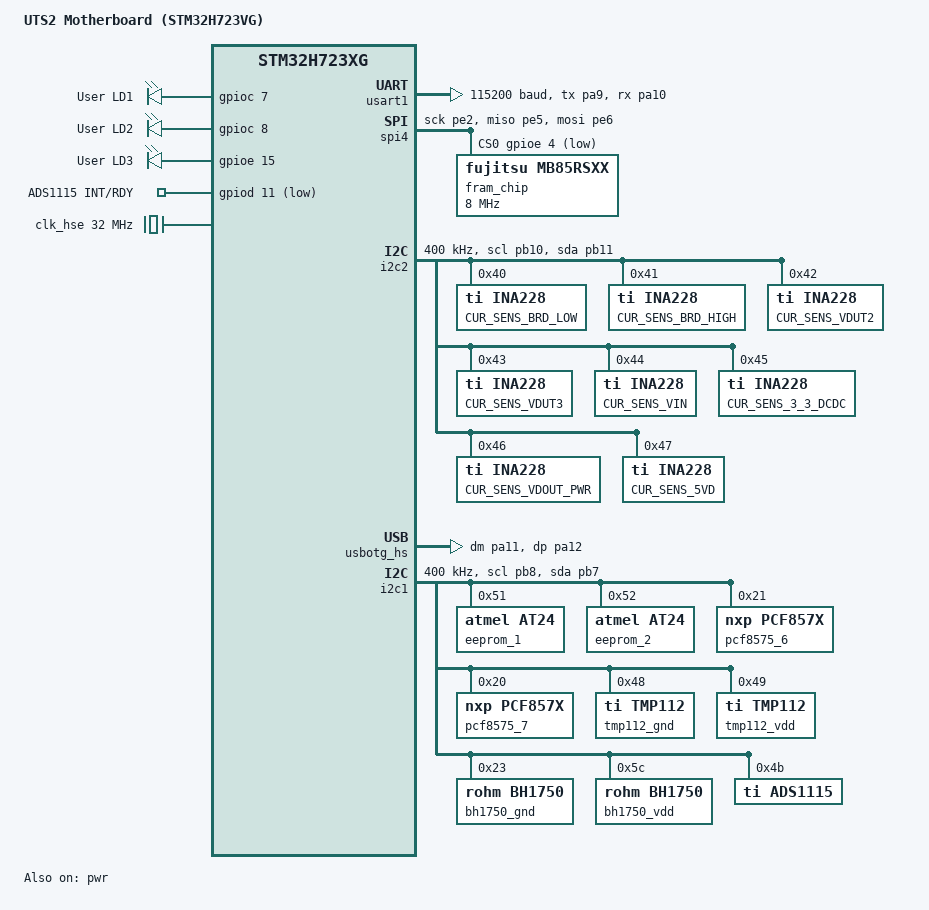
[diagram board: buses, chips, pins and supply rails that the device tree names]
/*
 * Copyright (c) 2020 Alexander Kozhinov <ak.alexander.kozhinov@gmail.com>
 * SPDX-License-Identifier: Apache-2.0
 */

/dts-v1/;
#include <st/h7/stm32h723Xg.dtsi>
#include <st/h7/stm32h723vgtx-pinctrl.dtsi>


/*
 * WARNING:
 * JP6 and SB72 must be ON when using Ethernet.
 */

/ {
	model = "UTS2 Motherboard (STM32H723VG)";
        compatible = "st,uts2-motherboard";

	chosen {
		zephyr,console = &usart1;
		zephyr,shell-uart = &cdc_acm_uart0;
		zephyr,dtcm = &dtcm;
		zephyr,sram = &sram0;
		zephyr,flash = &flash0;	
	    zephyr,code-partition = &flash0;
	};

	leds: leds {
		compatible = "gpio-leds";

		green_led: led_0 {
			gpios = <&gpioc 7 GPIO_ACTIVE_HIGH>;
			label = "User LD1";
		};

		yellow_led: led_1 {
			gpios = <&gpioc 8 GPIO_ACTIVE_HIGH>;
			label = "User LD2";
		};

		red_led: led_2 {
			gpios = <&gpioe 15 GPIO_ACTIVE_HIGH>;
			label = "User LD3";
		};
	};

		
	aliases {
		led0 = &green_led;
		led1 = &yellow_led;
		led2 = &red_led;		
	};
};

&pwr {
    status = "okay";
};

&clk_lse {
    status = "disabled";
};

&clk_hse {
    status ="okay";
    clock-frequency = <32000000>; /* 32 MHz */
    /* Если у вас по схеме подан генератор (меандр), а не пассивный кварц, раскомментируйте строчку ниже: */
    /* hse-bypass; */
};

&clk_lsi {
	status = "okay";
};

&clk_hsi48 {
	status = "okay";
};



&clk_hsi {
    hsi-div = <1>;
    status = "okay";
}; 


&pll {
	div-m = <2>;
	mul-n = <34>;
	div-p = <2>;
	div-q = <2>;
	div-r = <2>;
	fracn = <3072>; 
	clocks = <&clk_hse>;
	status = "okay";
};



&rcc {
	clocks = <&pll>;
	clock-frequency = <275000000>;
	d1cpre = <1>;
	hpre = <2>;    /* HCLK: 275   MHz */
	d1ppre = <2>;  /* APB1: 137.5 MHz */
	d2ppre1 = <2>; /* APB2: 137.5 MHz */
	d2ppre2 = <2>; /* APB3: 137.5 MHz */
	d3ppre = <2>;  /* APB4: 137.5 MHz */
	
};

&pwr {
	power-supply = "ldo";
};


&pinctrl {
    usart1_tx_pa9: usart1_tx_pa9 {
        pinmux = <STM32_PINMUX('A', 9, AF7)>;
        bias-pull-up;
    };

    usart1_rx_pa10: usart1_rx_pa10 {
        pinmux = <STM32_PINMUX('A', 10, AF7)>;
    };
};

&usart1 {
    pinctrl-0 = <&usart1_tx_pa9 &usart1_rx_pa10>;
    pinctrl-names = "default";
    current-speed = <115200>;
	tx-rx-swap;
    status = "okay";
};

/ {
    aliases {
        fram0 = &fram_chip;
    };
};

/* Перенаправляем пины для SPI4 на порт E */
&pinctrl {
    spi4_sck_pe2: spi4_sck_pe2 {
        pinmux = <STM32_PINMUX('E', 2, AF5)>; /* AF5 для SPI4 на STM32H7 */
        bias-pull-down;
    };

    spi4_miso_pe5: spi4_miso_pe5 {
        pinmux = <STM32_PINMUX('E', 5, AF5)>;
        bias-pull-down;
    };

    spi4_mosi_pe6: spi4_mosi_pe6 {
        pinmux = <STM32_PINMUX('E', 6, AF5)>;
        bias-pull-down;
    };
};

/* Включаем и настраиваем SPI4 */
&spi4 {
    pinctrl-0 = <&spi4_sck_pe2 &spi4_miso_pe5 &spi4_mosi_pe6>;
	cs-gpios = <&gpioe 4 GPIO_ACTIVE_LOW>; // Назначаем PE4 как софтовый CS*/
    pinctrl-names = "default";
    status = "okay";

    /* Опционально: если используете аппаратный CS на PE4 (AF5) */
    /* pinctrl-0 также должна включать пин CS, либо задаем его через cs-gpios */
    
    fram_chip: mb85rs64@0 {
        compatible = "fujitsu,mb85rsxx";
        reg = <0>;             
        spi-max-frequency = <8000000>; 
        size = <8192>;        
    };
};

&i2c2 {
    status = "okay";
	pinctrl-0 = <&i2c2_scl_pb10 &i2c2_sda_pb11>;
	pinctrl-names = "default";
    clock-frequency = <400000>; /* 400 kHz (Fast Mode) */

    CUR_SENS_BRD_LOW: ina228@40 {
        compatible = "ti,ina228";
        reg = <0x40>;
        current-lsb-microamps = <10>;
        rshunt-micro-ohms = <50000>;      /* Закрыто корректно: <50000> */
        status = "okay";
    };

    CUR_SENS_BRD_HIGH: ina228@41 {
        compatible = "ti,ina228";
        reg = <0x41>;
        current-lsb-microamps = <10>;
        rshunt-micro-ohms = <50000>;
        status = "okay";
    };

    CUR_SENS_VDUT2: ina228@42 {
        compatible = "ti,ina228";
        reg = <0x42>;
        rshunt-micro-ohms = <500000>;
        current-lsb-microamps = <1>;
        status = "okay";
    };

    CUR_SENS_VDUT3: ina228@43 {
        compatible = "ti,ina228";
        reg = <0x43>;
        rshunt-micro-ohms = <500000>;
        current-lsb-microamps = <1>;
        status = "okay";
    };

    CUR_SENS_VIN: ina228@44 {
        compatible = "ti,ina228";
        reg = <0x44>;
        current-lsb-microamps = <10>;
        rshunt-micro-ohms = <50000>;
        status = "okay";
    };

    CUR_SENS_3_3_DCDC: ina228@45 {
        compatible = "ti,ina228";
        reg = <0x45>;
        current-lsb-microamps = <10>;
        rshunt-micro-ohms = <50000>;
        status = "okay";
    };

    CUR_SENS_VDOUT_PWR: ina228@46 {
        compatible = "ti,ina228";
        reg = <0x46>;                     /* Исправлено совпадение адресов (было 0x45) */
        current-lsb-microamps = <10>;
        rshunt-micro-ohms = <50000>;
        status = "okay";
    };

    CUR_SENS_5VD: ina228@47 {
        compatible = "ti,ina228";
        reg = <0x47>;
        current-lsb-microamps = <10>;
        rshunt-micro-ohms = <50000>;
        status = "okay";
    };
};

zephyr_udc0: &usbotg_hs {
    pinctrl-0 = <&usb_otg_hs_dm_pa11 &usb_otg_hs_dp_pa12>;
    pinctrl-names = "default";
    status = "okay";

	/delete-property/ vbus-gpios;
    /* Дочерний узел виртуального COM-порта (CDC ACM) */
    cdc_acm_uart0: cdc_acm_uart0 {
        compatible = "zephyr,cdc-acm-uart";
    };
};

&gpiod {
    status = "okay";
};

/{
    aliases {
        adsint = &ads_int_pin;
    };

    ads_interrupt_node {
        compatible = "gpio-keys";
        ads_int_pin: ads_int_pin {
            /* Указываем порт D, пин 11, с подтяжкой к питанию и активным низким уровнем */
            gpios = <&gpiod 11 (GPIO_ACTIVE_LOW | GPIO_PULL_UP)>;
            label = "ADS1115 INT/RDY";
        };
    };
};

&i2c1 {
    status = "okay";
    pinctrl-0 = <&i2c1_scl_pb8 &i2c1_sda_pb7>; /* Проверь точные имена pinctrl для твоей платы, но логика такая */
    pinctrl-names = "default";
    clock-frequency = <I2C_BITRATE_FAST>; /* 400 kHz */


 	eeprom_1: eeprom@50 {
        compatible = "atmel,at24";
        reg = <0x51>;
        size = <256>;          /* 2 Кбит = 256 байт */
        pagesize = <16>;       /* Размер страницы записи 16 байт */
        address-width = <8>;   /* 8-битная адресация внутри чипа */
        timeout = <5>;
        status = "okay";
    };

    /* Вторая EEPROM (адрес 0x52, A1=VDD, A0=GND) */
    eeprom_2: eeprom@52 {
        compatible = "atmel,at24";
        reg = <0x52>;
        size = <256>;
        pagesize = <16>;
        address-width = <8>;
        timeout = <5>;
        status = "okay";
    };

    /* 6-я микросхема PCF8575RGER (A0=VDD, A1=GND, A2=GND) -> адрес 0x21 */
    pcf8575_6: pcf857x@21 {
        compatible = "nxp,pcf857x";
        status = "okay";
        reg = <0x21>;
        gpio-controller;
        #gpio-cells = <2>;
        ngpios = <16>;
    };
    
    /* Если 7-я микросхема (все адреса на GND, адрес 0x20) тоже там, можешь сразу прописать и её: */
    pcf8575_7: pcf857x@20 {
        compatible = "nxp,pcf857x";
        status = "okay";
        reg = <0x20>;
        gpio-controller;
        #gpio-cells = <2>;
        ngpios = <16>;
    };

	tmp112_gnd: tmp112@48 {
        compatible = "ti,tmp112";
        reg = <0x48>;
        status = "okay";
    };

    /* Второй TMP112A (ADD0 = VDD) -> адрес 0x49 */
    tmp112_vdd: tmp112@49 {
        compatible = "ti,tmp112";
        reg = <0x49>;
        status = "okay";
    };
	    /* Первый BH1750 (ADDR = GND) -> адрес 0x23 */
    bh1750_gnd: bh1750@23 {
        compatible = "rohm,bh1750";
        reg = <0x23>;
        status = "okay";
    };

    /* Второй BH1750 (ADDR = VDD) -> адрес 0x5C (или 0x38, если уточнишь по сканеру) */
    bh1750_vdd: bh1750@5c {
        compatible = "rohm,bh1750";
        reg = <0x5c>;
        status = "okay";
    };
	  
  ads1115: ads1115@4b {
        compatible = "ti,ads1115";
        reg = <0x4b>;
        #io-channel-cells = <1>;
        status = "okay";
    };
};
